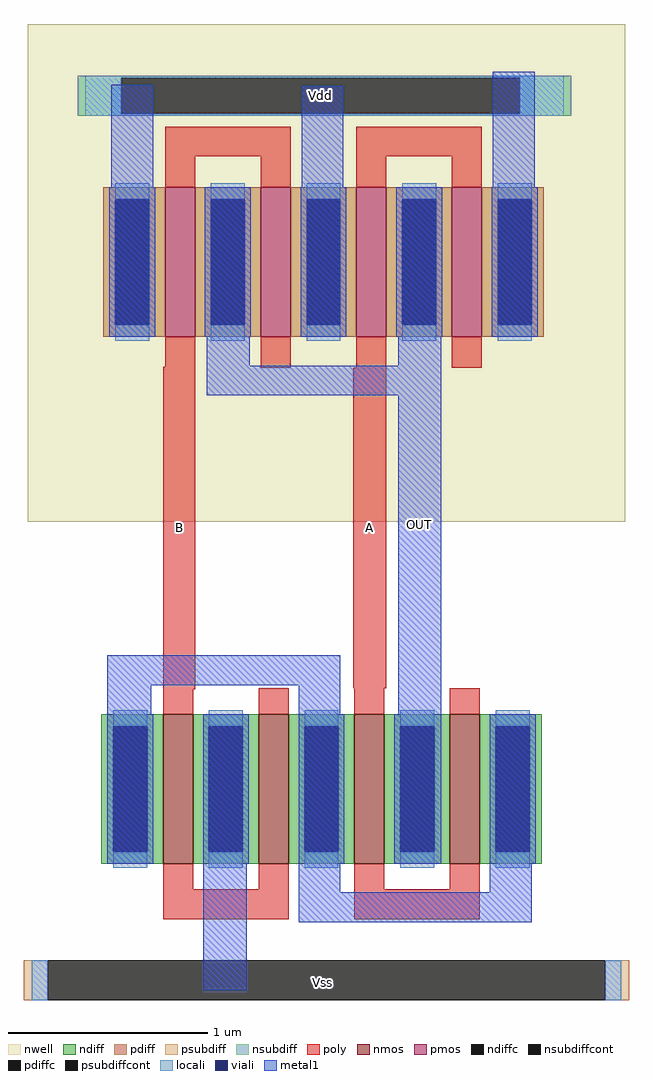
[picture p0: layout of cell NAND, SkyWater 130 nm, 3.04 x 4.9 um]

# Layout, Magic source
magic
tech sky130A
magscale 1 2
<< poly >>
rect 142 851 268 881
rect 334 851 460 881
rect 140 316 172 640
rect 331 317 364 639
rect 140 85 266 115
rect 332 85 458 115
<< metal1 >>
rect 88 679 130 923
rect 184 641 227 818
rect 279 678 321 922
rect 376 641 419 818
rect 471 676 513 936
rect 184 611 419 641
rect 84 320 318 350
rect 84 148 128 320
rect 180 14 224 288
rect 276 112 318 320
rect 376 142 419 611
rect 468 112 510 284
rect 276 82 510 112
use 5umcell_template  5umcell_template_0 ~/icdesign/mag/Plantilla
transform 1 0 4 0 1 -16
box -4 14 604 1000
use pfet_w075_2f  pfet_w075_2f_0 ~/icdesign/mag/PFET_W075_2F
transform 1 0 236 0 1 570
box 0 0 322 350
use pfet_w075_2f  pfet_w075_2f_1
transform 1 0 44 0 1 570
box 0 0 322 350
use sky130_fd_pr__nfet_01v8_XE8V5F  sky130_fd_pr__nfet_01v8_XE8V5F_0
transform 1 0 203 0 1 216
box -125 -101 125 101
use sky130_fd_pr__nfet_01v8_XUMWGH  sky130_fd_pr__nfet_01v8_XUMWGH_0
transform 1 0 395 0 1 216
box -125 -131 125 101
<< labels >>
rlabel poly 331 317 364 639 1 A
rlabel space 376 142 419 820 1 OUT
rlabel space 98 894 498 930 1 Vdd
rlabel poly 140 316 172 640 1 B
rlabel space 100 4 500 40 1 Vss
<< end >>

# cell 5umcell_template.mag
magic
tech sky130A
<< nwell >>
rect 0 250 300 500
<< psubdiff >>
rect -2 10 10 30
rect 290 10 302 30
<< nsubdiff >>
rect 25 473 273 474
rect 25 455 47 473
rect 247 455 273 473
rect 25 454 273 455
<< psubdiffcont >>
rect 10 10 290 30
<< nsubdiffcont >>
rect 47 455 247 473
<< locali >>
rect 29 473 269 474
rect 29 455 47 473
rect 247 455 269 473
rect 29 454 269 455
rect 2 10 10 30
rect 290 10 298 30
<< end >>

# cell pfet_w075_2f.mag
magic
tech sky130A
magscale 1 2
use sky130_fd_pr__pfet_01v8_52C9FB  sky130_fd_pr__pfet_01v8_52C9FB_0
transform 1 0 161 0 1 175
box -161 -175 161 175
<< end >>

# cell sky130_fd_pr__nfet_01v8_XE8V5F: kit device sky130_fd_pr__nfet_01v8, w 0.75 l 0.150 m 1 nf 2 diffcov 100 polycov 100 guard 0 glc 0 grc 0 gtc 0 gbc 0 tbcov 100 rlcov 100 topc 0 botc 0 poverlap 1 doverlap 1 lmin 0.15 wmin 0.42 compatible {sky130_fd_pr__nfet_01v8 sky130_fd_pr__nfet_01v8_lvt sky130_fd_bs_flash__special_sonosfet_star sky130_fd_pr__nfet_g5v0d10v5 sky130_fd_pr__nfet_05v0_nvt sky130_fd_pr__nfet_03v3_nvt} full_metal 0 viasrc 100 viadrn 100 viagate 100 viagb 0 viagr 0 viagl 0 viagt 0

# cell sky130_fd_pr__nfet_01v8_XUMWGH: kit device sky130_fd_pr__nfet_01v8, w 0.75 l 0.150 m 1 nf 2 diffcov 100 polycov 100 guard 0 glc 0 grc 0 gtc 0 gbc 0 tbcov 100 rlcov 100 topc 0 botc 0 poverlap 0 doverlap 1 lmin 0.15 wmin 0.42 compatible {sky130_fd_pr__nfet_01v8 sky130_fd_pr__nfet_01v8_lvt sky130_fd_bs_flash__special_sonosfet_star sky130_fd_pr__nfet_g5v0d10v5 sky130_fd_pr__nfet_05v0_nvt sky130_fd_pr__nfet_03v3_nvt} full_metal 0 viasrc 100 viadrn 100 viagate 100 viagb 0 viagr 0 viagl 0 viagt 0

# cell sky130_fd_pr__pfet_01v8_52C9FB: kit device sky130_fd_pr__pfet_01v8, w 0.75 l 0.15 m 1 nf 2 diffcov 100 polycov 100 guard 0 glc 0 grc 0 gtc 0 gbc 0 tbcov 100 rlcov 100 topc 0 botc 0 poverlap 0 doverlap 1 lmin 0.15 wmin 0.42 compatible {sky130_fd_pr__pfet_01v8 sky130_fd_pr__pfet_01v8_lvt sky130_fd_pr__pfet_01v8_hvt sky130_fd_pr__pfet_g5v0d10v5} full_metal 0 viasrc 100 viadrn 100 viagate 100 viagb 0 viagr 0 viagl 0 viagt 0
